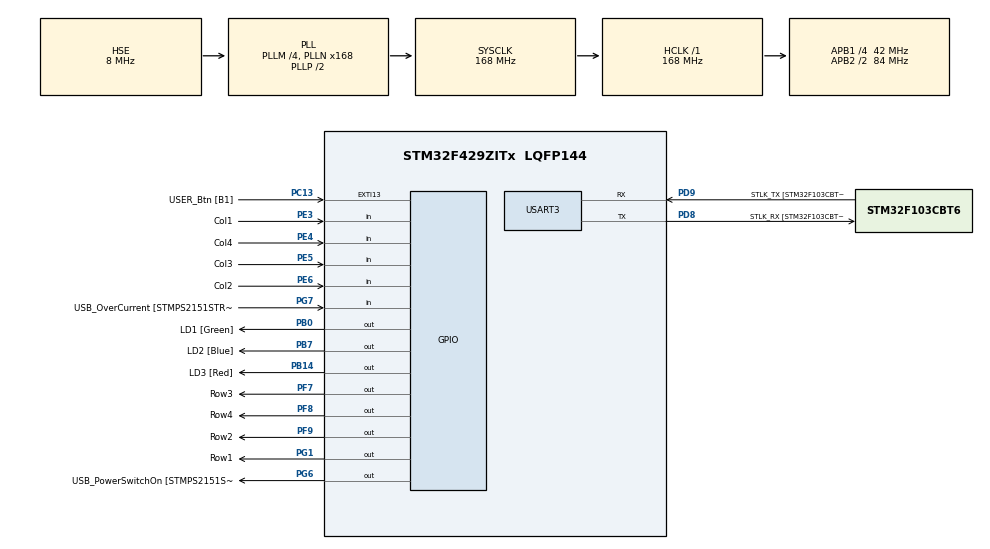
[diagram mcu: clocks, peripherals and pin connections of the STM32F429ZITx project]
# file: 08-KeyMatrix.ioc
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Mcu.Family=STM32F4
Mcu.Name=STM32F429ZITx
Mcu.Package=LQFP144
NVIC.PriorityGroup=NVIC_PRIORITYGROUP_4
NVIC.TIM3_IRQn=true\:0\:0\:false\:false\:true\:true\:true\:true
PA1.GPIO_Label=RMII_REF_CLK [LAN8742A-CZ-TR_REFCLK0]
PA1.Signal=ETH_REF_CLK
PA10.GPIO_Label=USB_ID
PA10.Signal=USB_OTG_FS_ID
PA11.GPIO_Label=USB_DM
PA11.Signal=USB_OTG_FS_DM
PA12.GPIO_Label=USB_DP
PA12.Signal=USB_OTG_FS_DP
PA13.GPIO_Label=TMS
PA13.Mode=Serial_Wire
PA13.Signal=SYS_JTMS-SWDIO
PA14.GPIO_Label=TCK
PA14.Mode=Serial_Wire
PA14.Signal=SYS_JTCK-SWCLK
PA2.GPIO_Label=RMII_MDIO [LAN8742A-CZ-TR_MDIO]
PA2.Signal=ETH_MDIO
PA7.GPIO_Label=RMII_CRS_DV [LAN8742A-CZ-TR_CRS_DV]
PA7.Signal=ETH_CRS_DV
PA8.GPIO_Label=USB_SOF [TP1]
PA8.Signal=USB_OTG_FS_SOF
PA9.GPIO_Label=USB_VBUS
PA9.Signal=USB_OTG_FS_VBUS
PB0.GPIO_Label=LD1 [Green]
PB0.Signal=GPIO_Output
PB13.GPIO_Label=RMII_TXD1 [LAN8742A-CZ-TR_TXD1]
PB13.Signal=ETH_TXD1
PB14.GPIO_Label=LD3 [Red]
PB14.Signal=GPIO_Output
PB7.GPIO_Label=LD2 [Blue]
PB7.Signal=GPIO_Output
PC1.GPIO_Label=RMII_MDC [LAN8742A-CZ-TR_MDC]
PC1.Signal=ETH_MDC
PC13.GPIO_Label=USER_Btn [B1]
PC13.Signal=GPXTI13
PC14/OSC32_IN.Mode=LSE-External-Oscillator
PC14/OSC32_IN.Signal=RCC_OSC32_IN
PC15/OSC32_OUT.Mode=LSE-External-Oscillator
PC15/OSC32_OUT.Signal=RCC_OSC32_OUT
PC4.GPIO_Label=RMII_RXD0 [LAN8742A-CZ-TR_RXD0]
PC4.Signal=ETH_RXD0
PC5.GPIO_Label=RMII_RXD1 [LAN8742A-CZ-TR_RXD1]
PC5.Signal=ETH_RXD1
PD8.GPIO_Label=STLK_RX [STM32F103CBT6_PA3]
PD8.Mode=Asynchronous
PD8.Signal=USART3_TX
PD9.GPIO_Label=STLK_TX [STM32F103CBT6_PA2]
PD9.Mode=Asynchronous
PD9.Signal=USART3_RX
PE3.GPIO_Label=Col1
PE3.GPIO_PuPd=GPIO_PULLUP
PE3.Signal=GPIO_Input
PE4.GPIO_Label=Col4
PE4.GPIO_PuPd=GPIO_PULLUP
PE4.Signal=GPIO_Input
PE5.GPIO_Label=Col3
PE5.GPIO_PuPd=GPIO_PULLUP
PE5.Signal=GPIO_Input
PE6.GPIO_Label=Col2
PE6.GPIO_PuPd=GPIO_PULLUP
PE6.Signal=GPIO_Input
PF7.GPIO_Label=Row3
PF7.GPIO_ModeDefaultOutputPP=GPIO_MODE_OUTPUT_OD
PF7.GPIO_PuPd=GPIO_NOPULL
PF7.Signal=GPIO_Output
PF8.GPIO_Label=Row4
PF8.GPIO_ModeDefaultOutputPP=GPIO_MODE_OUTPUT_OD
PF8.GPIO_PuPd=GPIO_NOPULL
PF8.Signal=GPIO_Output
PF9.GPIO_Label=Row2
PF9.GPIO_ModeDefaultOutputPP=GPIO_MODE_OUTPUT_OD
PF9.GPIO_PuPd=GPIO_NOPULL
PF9.Signal=GPIO_Output
PG1.GPIO_Label=Row1
PG1.GPIO_ModeDefaultOutputPP=GPIO_MODE_OUTPUT_OD
PG1.GPIO_PuPd=GPIO_NOPULL
PG1.Signal=GPIO_Output
PG11.GPIO_Label=RMII_TX_EN [LAN8742A-CZ-TR_TXEN]
PG11.Signal=ETH_TX_EN
PG13.GPIO_Label=RMII_TXD0 [LAN8742A-CZ-TR_TXD0]
PG13.Signal=ETH_TXD0
PG6.GPIO_Label=USB_PowerSwitchOn [STMPS2151STR_EN]
PG6.Signal=GPIO_Output
PG7.GPIO_Label=USB_OverCurrent [STMPS2151STR_FAULT]
PG7.Signal=GPIO_Input
PH0/OSC_IN.GPIO_Label=MCO [STM32F103CBT6_PA8]
PH0/OSC_IN.Mode=HSE-External-Clock-Source
PH0/OSC_IN.Signal=RCC_OSC_IN
PH1/OSC_OUT.Mode=HSE-External-Clock-Source
PH1/OSC_OUT.Signal=RCC_OSC_OUT
ProjectManager.HeapSize=0x200
ProjectManager.StackSize=0x400
ProjectManager.TargetToolchain=STM32CubeIDE
RCC.48MHZClocksFreq_Value=48000000
RCC.AHBFreq_Value=168000000
RCC.APB1CLKDivider=RCC_HCLK_DIV4
RCC.APB1Freq_Value=42000000
RCC.APB1TimFreq_Value=84000000
RCC.APB2CLKDivider=RCC_HCLK_DIV2
RCC.APB2Freq_Value=84000000
RCC.APB2TimCLKDivider=2
RCC.APB2TimFreq_Value=168000000
RCC.CortexFreq_Value=168000000
RCC.HCLKFreq_Value=168000000
RCC.HSE_VALUE=8000000
RCC.HSI_VALUE=16000000
RCC.PLLM=4
RCC.PLLMUL=RCC_PLL_MUL9
RCC.PLLN=168
RCC.PLLQ=7
RCC.PLLSourceVirtual=RCC_PLLSOURCE_HSE
RCC.PRESCALERUSB=RCC_USBCLKSOURCE_PLL_DIV1_5
RCC.SYSCLKFreq_VALUE=168000000
RCC.SYSCLKSource=RCC_SYSCLKSOURCE_PLLCLK
RCC.SYSCLKSourceVirtual=RCC_SYSCLKSOURCE_PLLCLK
RCC.USBFreq_Value=48000000
RCC.VCOOutputFreq_Value=336000000
TIM3.AutoReloadPreload=TIM_AUTORELOAD_PRELOAD_ENABLE
TIM3.Period=100-1
TIM3.Prescaler=8400-1
USART3.VirtualMode=VM_ASYNC
VP_TIM3_VS_ClockSourceINT.Mode=Internal
board=NUCLEO-F429ZI

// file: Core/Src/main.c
/* USER CODE BEGIN Header */
/**
  ******************************************************************************
  * @file           : main.c
  * @brief          : Main program body
  ******************************************************************************
  * @attention
  *
  * Copyright (c) 2024 STMicroelectronics.
  * All rights reserved.
  *
  * This software is licensed under terms that can be found in the LICENSE file
  * in the root directory of this software component.
  * If no LICENSE file comes with this software, it is provided AS-IS.
  *
  ******************************************************************************
  */
/* USER CODE END Header */
#include "main.h"

/* USER CODE BEGIN Includes */

#include <stdio.h>

/* USER CODE END Includes */

TIM_HandleTypeDef htim3;

UART_HandleTypeDef huart3;

/* USER CODE BEGIN PV */

static volatile char key;

static char input[5];
static uint8_t i = 0;		// static sposobuje ze to nie je globalna premenna - na skuske ak bude prikaz si skontrolovat ci tam nahodou nemam globalnu premennu tak dat vsade static co nema byt globalna
static uint8_t notvalid = 0;	//globalne premenne su neziaduce

static uint32_t pressedTime;

static char code [5] = { '7', '9', '3', '2', '#' };

/* USER CODE END PV */

void SystemClock_Config(void);
static void MX_GPIO_Init(void);
static void MX_USART3_UART_Init(void);
static void MX_TIM3_Init(void);

/* USER CODE BEGIN 0 */

int __io_putchar(int ch)
{
	ITM_SendChar(ch);
	return 0;
}

/* USER CODE END 0 */

int main(void)
{

  /* MCU Configuration--------------------------------------------------------*/

  /* Reset of all peripherals, Initializes the Flash interface and the Systick. */
  HAL_Init();

  /* Configure the system clock */
  SystemClock_Config();

  /* Initialize all configured peripherals */
  MX_GPIO_Init();
  MX_USART3_UART_Init();
  MX_TIM3_Init();
  /* USER CODE BEGIN 2 */

  HAL_TIM_Base_Start_IT(&htim3);

  /* USER CODE END 2 */

  /* Infinite loop */
  /* USER CODE BEGIN WHILE */
  while (1)
  {
	  if (key != 0)
	  {
		  pressedTime = HAL_GetTick();

		  input[i] = key;
		  i++;

		  if (i >= 5)
		  {
			  i = 0;

			  printf("zadane je: %s \n", input);

			  for (int j = 0; j < 5; j++)
			  {
				  if (input[j] != code[j])
				  {
					  notvalid = 1;
				  }
			  }

			  if (notvalid == 0)
			  {
				  printf("valid input\n");
				  HAL_GPIO_WritePin(LD1_GPIO_Port, LD1_Pin, SET);
				  HAL_Delay(1000);
				  HAL_GPIO_WritePin(LD1_GPIO_Port, LD1_Pin, RESET);
			  }

		  }

		  HAL_Delay(200);
		  key = 0;
		  notvalid = 0;
	  }

	  if ((HAL_GetTick() - pressedTime) >= 3000)
	  {
		  i = 0;
	  }

    /* USER CODE END WHILE */

  }
}

void SystemClock_Config(void)
{
  RCC_OscInitTypeDef RCC_OscInitStruct = {0};
  RCC_ClkInitTypeDef RCC_ClkInitStruct = {0};

  /** Configure the main internal regulator output voltage
  */
  __HAL_RCC_PWR_CLK_ENABLE();
  __HAL_PWR_VOLTAGESCALING_CONFIG(PWR_REGULATOR_VOLTAGE_SCALE1);

  /** Initializes the RCC Oscillators according to the specified parameters
  * in the RCC_OscInitTypeDef structure.
  */
  RCC_OscInitStruct.OscillatorType = RCC_OSCILLATORTYPE_HSE;
  RCC_OscInitStruct.HSEState = RCC_HSE_BYPASS;
  RCC_OscInitStruct.PLL.PLLState = RCC_PLL_ON;
  RCC_OscInitStruct.PLL.PLLSource = RCC_PLLSOURCE_HSE;
  RCC_OscInitStruct.PLL.PLLM = 4;
  RCC_OscInitStruct.PLL.PLLN = 168;
  RCC_OscInitStruct.PLL.PLLP = RCC_PLLP_DIV2;
  RCC_OscInitStruct.PLL.PLLQ = 7;
  if (HAL_RCC_OscConfig(&RCC_OscInitStruct) != HAL_OK)
  {
    Error_Handler();
  }

  /** Initializes the CPU, AHB and APB buses clocks
  */
  RCC_ClkInitStruct.ClockType = RCC_CLOCKTYPE_HCLK|RCC_CLOCKTYPE_SYSCLK
                              |RCC_CLOCKTYPE_PCLK1|RCC_CLOCKTYPE_PCLK2;
  RCC_ClkInitStruct.SYSCLKSource = RCC_SYSCLKSOURCE_PLLCLK;
  RCC_ClkInitStruct.AHBCLKDivider = RCC_SYSCLK_DIV1;
  RCC_ClkInitStruct.APB1CLKDivider = RCC_HCLK_DIV4;
  RCC_ClkInitStruct.APB2CLKDivider = RCC_HCLK_DIV2;

  if (HAL_RCC_ClockConfig(&RCC_ClkInitStruct, FLASH_LATENCY_5) != HAL_OK)
  {
    Error_Handler();
  }
}

static void MX_TIM3_Init(void)
{

  TIM_ClockConfigTypeDef sClockSourceConfig = {0};
  TIM_MasterConfigTypeDef sMasterConfig = {0};

  htim3.Instance = TIM3;
  htim3.Init.Prescaler = 8400-1;
  htim3.Init.CounterMode = TIM_COUNTERMODE_UP;
  htim3.Init.Period = 100-1;
  htim3.Init.ClockDivision = TIM_CLOCKDIVISION_DIV1;
  htim3.Init.AutoReloadPreload = TIM_AUTORELOAD_PRELOAD_ENABLE;
  if (HAL_TIM_Base_Init(&htim3) != HAL_OK)
  {
    Error_Handler();
  }
  sClockSourceConfig.ClockSource = TIM_CLOCKSOURCE_INTERNAL;
  if (HAL_TIM_ConfigClockSource(&htim3, &sClockSourceConfig) != HAL_OK)
  {
    Error_Handler();
  }
  sMasterConfig.MasterOutputTrigger = TIM_TRGO_RESET;
  sMasterConfig.MasterSlaveMode = TIM_MASTERSLAVEMODE_DISABLE;
  if (HAL_TIMEx_MasterConfigSynchronization(&htim3, &sMasterConfig) != HAL_OK)
  {
    Error_Handler();
  }

}

static void MX_USART3_UART_Init(void)
{

  huart3.Instance = USART3;
  huart3.Init.BaudRate = 115200;
  huart3.Init.WordLength = UART_WORDLENGTH_8B;
  huart3.Init.StopBits = UART_STOPBITS_1;
  huart3.Init.Parity = UART_PARITY_NONE;
  huart3.Init.Mode = UART_MODE_TX_RX;
  huart3.Init.HwFlowCtl = UART_HWCONTROL_NONE;
  huart3.Init.OverSampling = UART_OVERSAMPLING_16;
  if (HAL_UART_Init(&huart3) != HAL_OK)
  {
    Error_Handler();
  }

}

static void MX_GPIO_Init(void)
{
  GPIO_InitTypeDef GPIO_InitStruct = {0};

  /* GPIO Ports Clock Enable */
  __HAL_RCC_GPIOE_CLK_ENABLE();
  __HAL_RCC_GPIOC_CLK_ENABLE();
  __HAL_RCC_GPIOF_CLK_ENABLE();
  __HAL_RCC_GPIOH_CLK_ENABLE();
  __HAL_RCC_GPIOA_CLK_ENABLE();
  __HAL_RCC_GPIOB_CLK_ENABLE();
  __HAL_RCC_GPIOG_CLK_ENABLE();
  __HAL_RCC_GPIOD_CLK_ENABLE();

  /*Configure GPIO pin Output Level */
  HAL_GPIO_WritePin(GPIOF, Row3_Pin|Row4_Pin|Row2_Pin, GPIO_PIN_RESET);

  /*Configure GPIO pin Output Level */
  HAL_GPIO_WritePin(GPIOB, LD1_Pin|LD3_Pin|LD2_Pin, GPIO_PIN_RESET);

  /*Configure GPIO pin Output Level */
  HAL_GPIO_WritePin(GPIOG, Row1_Pin|USB_PowerSwitchOn_Pin, GPIO_PIN_RESET);

  /*Configure GPIO pins : Col1_Pin Col4_Pin Col3_Pin Col2_Pin */
  GPIO_InitStruct.Pin = Col1_Pin|Col4_Pin|Col3_Pin|Col2_Pin;
  GPIO_InitStruct.Mode = GPIO_MODE_INPUT;
  GPIO_InitStruct.Pull = GPIO_PULLUP;
  HAL_GPIO_Init(GPIOE, &GPIO_InitStruct);

  /*Configure GPIO pin : USER_Btn_Pin */
  GPIO_InitStruct.Pin = USER_Btn_Pin;
  GPIO_InitStruct.Mode = GPIO_MODE_IT_RISING;
  GPIO_InitStruct.Pull = GPIO_NOPULL;
  HAL_GPIO_Init(USER_Btn_GPIO_Port, &GPIO_InitStruct);

  /*Configure GPIO pins : Row3_Pin Row4_Pin Row2_Pin */
  GPIO_InitStruct.Pin = Row3_Pin|Row4_Pin|Row2_Pin;
  GPIO_InitStruct.Mode = GPIO_MODE_OUTPUT_OD;
  GPIO_InitStruct.Pull = GPIO_NOPULL;
  GPIO_InitStruct.Speed = GPIO_SPEED_FREQ_LOW;
  HAL_GPIO_Init(GPIOF, &GPIO_InitStruct);

  /*Configure GPIO pins : RMII_MDC_Pin RMII_RXD0_Pin RMII_RXD1_Pin */
  GPIO_InitStruct.Pin = RMII_MDC_Pin|RMII_RXD0_Pin|RMII_RXD1_Pin;
  GPIO_InitStruct.Mode = GPIO_MODE_AF_PP;
  GPIO_InitStruct.Pull = GPIO_NOPULL;
  GPIO_InitStruct.Speed = GPIO_SPEED_FREQ_VERY_HIGH;
  GPIO_InitStruct.Alternate = GPIO_AF11_ETH;
  HAL_GPIO_Init(GPIOC, &GPIO_InitStruct);

  /*Configure GPIO pins : RMII_REF_CLK_Pin RMII_MDIO_Pin RMII_CRS_DV_Pin */
  GPIO_InitStruct.Pin = RMII_REF_CLK_Pin|RMII_MDIO_Pin|RMII_CRS_DV_Pin;
  GPIO_InitStruct.Mode = GPIO_MODE_AF_PP;
  GPIO_InitStruct.Pull = GPIO_NOPULL;
  GPIO_InitStruct.Speed = GPIO_SPEED_FREQ_VERY_HIGH;
  GPIO_InitStruct.Alternate = GPIO_AF11_ETH;
  HAL_GPIO_Init(GPIOA, &GPIO_InitStruct);

  /*Configure GPIO pins : LD1_Pin LD3_Pin LD2_Pin */
  GPIO_InitStruct.Pin = LD1_Pin|LD3_Pin|LD2_Pin;
  GPIO_InitStruct.Mode = GPIO_MODE_OUTPUT_PP;
  GPIO_InitStruct.Pull = GPIO_NOPULL;
  GPIO_InitStruct.Speed = GPIO_SPEED_FREQ_LOW;
  HAL_GPIO_Init(GPIOB, &GPIO_InitStruct);

  /*Configure GPIO pin : Row1_Pin */
  GPIO_InitStruct.Pin = Row1_Pin;
  GPIO_InitStruct.Mode = GPIO_MODE_OUTPUT_OD;
  GPIO_InitStruct.Pull = GPIO_NOPULL;
  GPIO_InitStruct.Speed = GPIO_SPEED_FREQ_LOW;
  HAL_GPIO_Init(Row1_GPIO_Port, &GPIO_InitStruct);

  /*Configure GPIO pin : RMII_TXD1_Pin */
  GPIO_InitStruct.Pin = RMII_TXD1_Pin;
  GPIO_InitStruct.Mode = GPIO_MODE_AF_PP;
  GPIO_InitStruct.Pull = GPIO_NOPULL;
  GPIO_InitStruct.Speed = GPIO_SPEED_FREQ_VERY_HIGH;
  GPIO_InitStruct.Alternate = GPIO_AF11_ETH;
  HAL_GPIO_Init(RMII_TXD1_GPIO_Port, &GPIO_InitStruct);

  /*Configure GPIO pin : USB_PowerSwitchOn_Pin */
  GPIO_InitStruct.Pin = USB_PowerSwitchOn_Pin;
  GPIO_InitStruct.Mode = GPIO_MODE_OUTPUT_PP;
  GPIO_InitStruct.Pull = GPIO_NOPULL;
  GPIO_InitStruct.Speed = GPIO_SPEED_FREQ_LOW;
  HAL_GPIO_Init(USB_PowerSwitchOn_GPIO_Port, &GPIO_InitStruct);

  /*Configure GPIO pin : USB_OverCurrent_Pin */
  GPIO_InitStruct.Pin = USB_OverCurrent_Pin;
  GPIO_InitStruct.Mode = GPIO_MODE_INPUT;
  GPIO_InitStruct.Pull = GPIO_NOPULL;
  HAL_GPIO_Init(USB_OverCurrent_GPIO_Port, &GPIO_InitStruct);

  /*Configure GPIO pins : USB_SOF_Pin USB_ID_Pin USB_DM_Pin USB_DP_Pin */
  GPIO_InitStruct.Pin = USB_SOF_Pin|USB_ID_Pin|USB_DM_Pin|USB_DP_Pin;
  GPIO_InitStruct.Mode = GPIO_MODE_AF_PP;
  GPIO_InitStruct.Pull = GPIO_NOPULL;
  GPIO_InitStruct.Speed = GPIO_SPEED_FREQ_VERY_HIGH;
  GPIO_InitStruct.Alternate = GPIO_AF10_OTG_FS;
  HAL_GPIO_Init(GPIOA, &GPIO_InitStruct);

  /*Configure GPIO pin : USB_VBUS_Pin */
  GPIO_InitStruct.Pin = USB_VBUS_Pin;
  GPIO_InitStruct.Mode = GPIO_MODE_INPUT;
  GPIO_InitStruct.Pull = GPIO_NOPULL;
  HAL_GPIO_Init(USB_VBUS_GPIO_Port, &GPIO_InitStruct);

  /*Configure GPIO pins : RMII_TX_EN_Pin RMII_TXD0_Pin */
  GPIO_InitStruct.Pin = RMII_TX_EN_Pin|RMII_TXD0_Pin;
  GPIO_InitStruct.Mode = GPIO_MODE_AF_PP;
  GPIO_InitStruct.Pull = GPIO_NOPULL;
  GPIO_InitStruct.Speed = GPIO_SPEED_FREQ_VERY_HIGH;
  GPIO_InitStruct.Alternate = GPIO_AF11_ETH;
  HAL_GPIO_Init(GPIOG, &GPIO_InitStruct);

}

/* USER CODE BEGIN 4 */

void HAL_TIM_PeriodElapsedCallback(TIM_HandleTypeDef *htim)
{
	static uint8_t row = 0;
	static const char keyboard[4][4] = {
			{ '1', '2', '3', 'A' },
			{ '4', '5', '6', 'B' },
			{ '7', '8', '9', 'C' },
			{ '*', '0', '#', 'D' },
	};

	if (key == 0)
	{
		if (HAL_GPIO_ReadPin(Col1_GPIO_Port, Col1_Pin) == GPIO_PIN_RESET)
		{
			key = keyboard[row][0];
		}

		if (HAL_GPIO_ReadPin(Col2_GPIO_Port, Col2_Pin) == GPIO_PIN_RESET)
		{
			key = keyboard[row][1];
		}

		if (HAL_GPIO_ReadPin(Col3_GPIO_Port, Col3_Pin) == GPIO_PIN_RESET)
		{
			key = keyboard[row][2];
		}

		if (HAL_GPIO_ReadPin(Col4_GPIO_Port, Col4_Pin) == GPIO_PIN_RESET)
		{
			key = keyboard[row][3];
		}
	}

	HAL_GPIO_WritePin(Row1_GPIO_Port, Row1_Pin, GPIO_PIN_SET);
	HAL_GPIO_WritePin(Row2_GPIO_Port, Row2_Pin, GPIO_PIN_SET);
	HAL_GPIO_WritePin(Row3_GPIO_Port, Row3_Pin, GPIO_PIN_SET);
	HAL_GPIO_WritePin(Row4_GPIO_Port, Row4_Pin, GPIO_PIN_SET);

	switch (row) {
		case 0:
			row = 1;
			HAL_GPIO_WritePin(Row2_GPIO_Port, Row2_Pin, GPIO_PIN_RESET);
			break;
		case 1:
			row = 2;
			HAL_GPIO_WritePin(Row3_GPIO_Port, Row3_Pin, GPIO_PIN_RESET);
			break;
		case 2:
			row = 3;
			HAL_GPIO_WritePin(Row4_GPIO_Port, Row4_Pin, GPIO_PIN_RESET);
			break;
		case 3:
			row = 0;
			HAL_GPIO_WritePin(Row1_GPIO_Port, Row1_Pin, GPIO_PIN_RESET);
			break;
	}
}

/* USER CODE END 4 */

void Error_Handler(void)
{
  __disable_irq();
  while (1)
  {
  }
}
